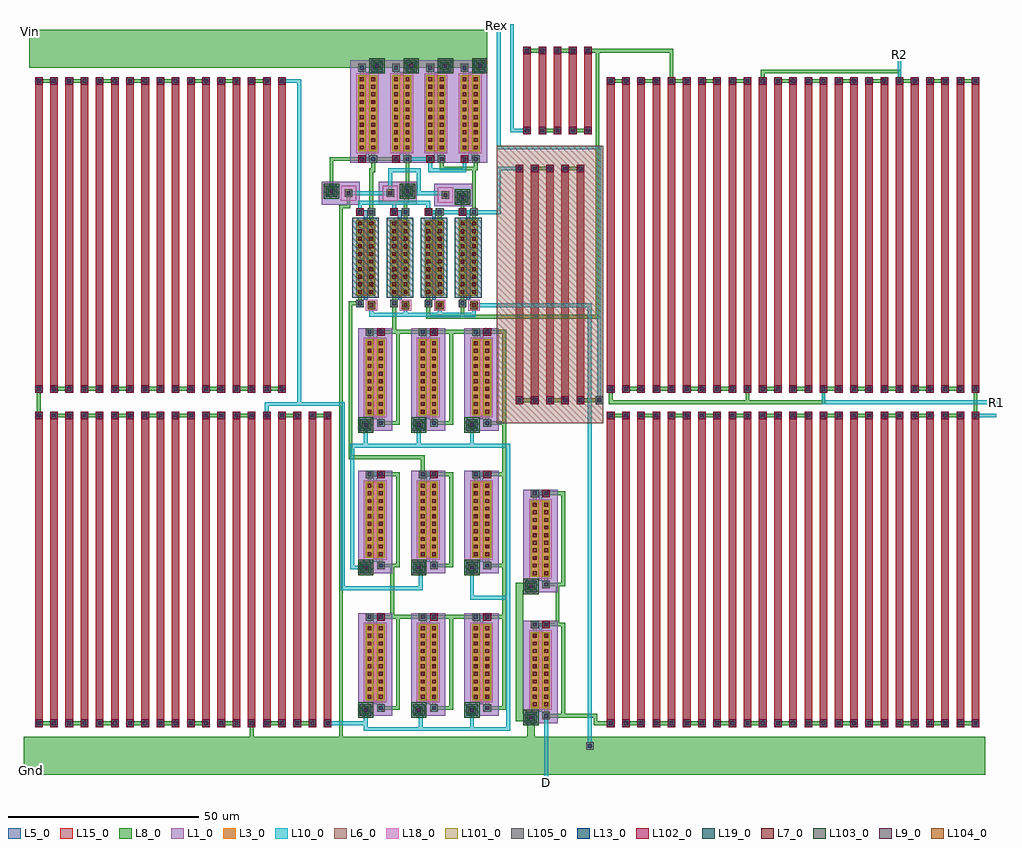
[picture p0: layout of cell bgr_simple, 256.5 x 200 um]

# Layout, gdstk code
from math import pi, radians
import gdstk
lib = gdstk.Library(unit=1e-6, precision=1e-09)
def R(c, l, rs):  # rectangles x0, y0, x1, y1
    for r in rs: c.add(gdstk.rectangle(r[:2], r[2:], *l))
def A(c, l, x, y, w, h, nx, ny, dx, dy):  # array of equal rectangles
    R(c, l, [(x+i*dx, y+j*dy, x+i*dx+w, y+j*dy+h) for i in range(nx) for j in range(ny)])
L1_0 = (1, 0)
L3_0 = (3, 0)
L5_0 = (5, 0)
L6_0 = (6, 0)
L7_0 = (7, 0)
L8_0 = (8, 0)
L9_0 = (9, 0)
L10_0 = (10, 0)
L13_0 = (13, 0)
L15_0 = (15, 0)
L18_0 = (18, 0)
L19_0 = (19, 0)
L101_0 = (101, 0)
L102_0 = (102, 0)
L103_0 = (103, 0)
L104_0 = (104, 0)
L105_0 = (105, 0)

dcont = lib.new_cell('dcont')
R(dcont, L3_0, [(-1,-1,1,1)])
R(dcont, L7_0, [(-0.5,-0.5,0.5,0.5)])
R(dcont, L8_0, [(-1,-1,1,1)])
R(dcont, L13_0, [(-0.5,-0.5,0.5,0.5)])
R(dcont, L101_0, [(-1,-1,1,1)])
dcont.add(gdstk.Label('dcont', (0,0), layer=13, texttype=0))

pcont = lib.new_cell('pcont')
R(pcont, L5_0, [(-1,-1,1,1)])
R(pcont, L7_0, [(-0.5,-0.5,0.5,0.5)])
R(pcont, L8_0, [(-1,-1,1,1)])
R(pcont, L13_0, [(-0.5,-0.5,0.5,0.5)])
R(pcont, L102_0, [(-1,-1,1,1)])
pcont.add(gdstk.Label('pcont', (0,0), layer=13, texttype=0))

via = lib.new_cell('Via')
R(via, L8_0, [(-1,-1,1,1)])
R(via, L9_0, [(-0.5,-0.5,0.5,0.5)])
R(via, L10_0, [(-1,-1,1,1)])
R(via, L13_0, [(-0.5,-0.5,0.5,0.5)])
R(via, L105_0, [(-1,-1,1,1)])
via.add(gdstk.Label('via', (0,0), layer=13, texttype=0))

nsubcont = lib.new_cell('nsubcont')
R(nsubcont, L1_0, [(-2,-2,2,2)])
R(nsubcont, L19_0, [(-1.5,-1.5,1.5,1.5)])
R(nsubcont, L103_0, [(-2,-2,2,2)])
nsubcont.add(gdstk.Reference(dcont, (0,0)))
nsubcont.add(gdstk.Label('NScont', (0,0), layer=13, texttype=0))

pch = lib.new_cell('Pch')
R(pch, L1_0, [(-2,0,7,27)])
R(pch, L3_0, [(0,3,5,23)])
R(pch, L18_0, [(-0.5,2.5,5.5,23.5)])
pch.add(gdstk.FlexPath([(1,3),(1,23)], 2, ends="flush", simple_path=True, layer=8, datatype=0))  # L8_0
pch.add(gdstk.FlexPath([(4,3),(4,23)], 2, ends="flush", simple_path=True, layer=8, datatype=0))  # L8_0
pch.add(gdstk.FlexPath([(1,23),(1,25)], 1, ends="flush", simple_path=True, layer=8, datatype=0))  # L8_0
pch.add(gdstk.FlexPath([(4,0),(4,3)], 1, ends="flush", simple_path=True, layer=8, datatype=0))  # L8_0
pch.add(gdstk.FlexPath([(2.5,3),(2.5,23)], 1, ends=(1, 1), simple_path=True, layer=5, datatype=0))  # L5_0
pch.add(gdstk.FlexPath([(1,1),(2.5,1),(2.5,2)], 1, ends="flush", simple_path=True, layer=5, datatype=0))  # L5_0
pch.add(gdstk.Reference(dcont, (1,4)))
pch.add(gdstk.Reference(dcont, (1,6)))
pch.add(gdstk.Reference(dcont, (1,8)))
pch.add(gdstk.Reference(dcont, (1,10)))
pch.add(gdstk.Reference(dcont, (1,12)))
pch.add(gdstk.Reference(dcont, (1,14)))
pch.add(gdstk.Reference(dcont, (1,16)))
pch.add(gdstk.Reference(dcont, (1,18)))
pch.add(gdstk.Reference(dcont, (1,20)))
pch.add(gdstk.Reference(dcont, (1,22)))
pch.add(gdstk.Reference(dcont, (4,4)))
pch.add(gdstk.Reference(dcont, (4,6)))
pch.add(gdstk.Reference(dcont, (4,8)))
pch.add(gdstk.Reference(dcont, (4,10)))
pch.add(gdstk.Reference(dcont, (4,12)))
pch.add(gdstk.Reference(dcont, (4,14)))
pch.add(gdstk.Reference(dcont, (4,16)))
pch.add(gdstk.Reference(dcont, (4,18)))
pch.add(gdstk.Reference(dcont, (4,20)))
pch.add(gdstk.Reference(dcont, (4,22)))
pch.add(gdstk.Reference(pcont, (1,1)))
pch.add(gdstk.Reference(via, (1,1)))
pch.add(gdstk.Reference(via, (1,25)))
pch.add(gdstk.Reference(via, (4,1)))
pch.add(gdstk.Reference(nsubcont, (5,25.5)))
pch.add(gdstk.Reference(via, (5,25.5)))

pch1x20 = lib.new_cell('pch1x20')
pch1x20.add(gdstk.Reference(pch, (1,2.5)))

psubcont = lib.new_cell('psubcont')
R(psubcont, L18_0, [(-1.5,-1.5,1.5,1.5)])
R(psubcont, L104_0, [(-1,-1,1,1)])
psubcont.add(gdstk.Reference(dcont, (0,0)))
psubcont.add(gdstk.Label('PScon', (0,0), layer=13, texttype=0))

nch = lib.new_cell('Nch')
R(nch, L3_0, [(0,3,5,23)])
R(nch, L19_0, [(-1,2.5,6,23.5)])
nch.add(gdstk.FlexPath([(1,3),(1,23)], 2, ends="flush", simple_path=True, layer=8, datatype=0))  # L8_0
nch.add(gdstk.FlexPath([(4,3),(4,23)], 2, ends="flush", simple_path=True, layer=8, datatype=0))  # L8_0
nch.add(gdstk.FlexPath([(1,1),(1,4)], 1, ends="flush", simple_path=True, layer=8, datatype=0))  # L8_0
nch.add(gdstk.FlexPath([(4,23),(4,26)], 1, ends="flush", simple_path=True, layer=8, datatype=0))  # L8_0
nch.add(gdstk.FlexPath([(2.5,3),(2.5,23)], 1, ends=(1, 1), simple_path=True, layer=5, datatype=0))  # L5_0
nch.add(gdstk.FlexPath([(1,25),(2.5,25),(2.5,24)], 1, ends="flush", simple_path=True, layer=5, datatype=0))  # L5_0
nch.add(gdstk.Reference(dcont, (1,4)))
nch.add(gdstk.Reference(dcont, (1,6)))
nch.add(gdstk.Reference(dcont, (1,8)))
nch.add(gdstk.Reference(dcont, (1,10)))
nch.add(gdstk.Reference(dcont, (1,12)))
nch.add(gdstk.Reference(dcont, (1,14)))
nch.add(gdstk.Reference(dcont, (1,16)))
nch.add(gdstk.Reference(dcont, (1,18)))
nch.add(gdstk.Reference(dcont, (1,20)))
nch.add(gdstk.Reference(dcont, (1,22)))
nch.add(gdstk.Reference(dcont, (4,4)))
nch.add(gdstk.Reference(dcont, (4,6)))
nch.add(gdstk.Reference(dcont, (4,8)))
nch.add(gdstk.Reference(dcont, (4,10)))
nch.add(gdstk.Reference(dcont, (4,12)))
nch.add(gdstk.Reference(dcont, (4,14)))
nch.add(gdstk.Reference(dcont, (4,16)))
nch.add(gdstk.Reference(dcont, (4,18)))
nch.add(gdstk.Reference(dcont, (4,20)))
nch.add(gdstk.Reference(dcont, (4,22)))
nch.add(gdstk.Reference(pcont, (1,25)))
nch.add(gdstk.Reference(via, (1,25)))
nch.add(gdstk.Reference(via, (1,1)))
nch.add(gdstk.Reference(via, (4,25)))
nch.add(gdstk.Reference(psubcont, (4,0.5)))
nch.add(gdstk.Reference(via, (4,0.5)))

nch1x20 = lib.new_cell('nch1x20')
nch1x20.add(gdstk.Reference(nch, (0.5,-0.5)))

pchdiode = lib.new_cell('pchdiode')
pchdiode.add(gdstk.FlexPath([(3.5,28.5),(-0.5,28.5),(-0.5,4.5),(7,4.5)], 1, ends="extended", simple_path=True, layer=8, datatype=0))  # L8_0
pchdiode.add(gdstk.Reference(pch1x20, (2,1)))

diodeblock = lib.new_cell('diodeblock')
diodeblock.add(gdstk.FlexPath([(32.5,8.5),(-3,8.5),(-3,-66.5),(26.5,-66.5)], 1, ends="flush", simple_path=True, layer=8, datatype=0))  # L8_0
diodeblock.add(gdstk.FlexPath([(26.5,8.5),(26.5,-5.5)], 1, ends="flush", simple_path=True, layer=8, datatype=0))  # L8_0
diodeblock.add(gdstk.FlexPath([(5.5,-42.5),(5.5,-36.5),(19.5,-36.5),(19.5,-42.5)], 1, ends="flush", simple_path=True, layer=10, datatype=0))  # L10_0
diodeblock.add(gdstk.FlexPath([(18.5,-36.5),(33.5,-36.5),(33.5,-42.5)], 1, ends="flush", simple_path=True, layer=10, datatype=0))  # L10_0
diodeblock.add(gdstk.FlexPath([(33,-36.5),(37,-36.5),(37,-4.5),(33.5,-4.5)], 1, ends="flush", simple_path=True, layer=10, datatype=0))  # L10_0
diodeblock.add(gdstk.FlexPath([(5.5,-5),(5.5,3.5),(-4.5,3.5)], 1, ends="flush", simple_path=True, layer=10, datatype=0))  # L10_0
diodeblock.add(gdstk.FlexPath([(18,38),(33.5,38),(33.5,32.5)], 1, ends="flush", simple_path=True, layer=10, datatype=0))  # L10_0
diodeblock.add(gdstk.FlexPath([(5.5,32.5),(5.5,38),(19,38),(19,32.5)], 1, ends="flush", simple_path=True, layer=10, datatype=0))  # L10_0
diodeblock.add(gdstk.FlexPath([(-4,4),(-4,-36.5),(5,-36.5)], 1, ends="flush", simple_path=True, layer=10, datatype=0))  # L10_0
diodeblock.add(gdstk.FlexPath([(-4,3.5),(-4,38),(5,38)], 1, ends="flush", simple_path=True, layer=10, datatype=0))  # L10_0
diodeblock.add(gdstk.Reference(pchdiode, (-2.5,4)))
diodeblock.add(gdstk.Reference(pchdiode, (11.5,4)))
diodeblock.add(gdstk.Reference(pchdiode, (25.5,4)))
diodeblock.add(gdstk.Reference(pchdiode, (-2.5,-33.5)))
diodeblock.add(gdstk.Reference(pchdiode, (11.5,-33.5)))
diodeblock.add(gdstk.Reference(pchdiode, (25.5,-33.5)))
diodeblock.add(gdstk.Reference(pchdiode, (-2.5,-71)))
diodeblock.add(gdstk.Reference(pchdiode, (11.5,-71)))
diodeblock.add(gdstk.Reference(pchdiode, (25.5,-71)))

r_poly_5 = lib.new_cell('R_poly$5')
A(r_poly_5, L8_0, 0, 0, 2, 2, 5, 2, 4, 81)
A(r_poly_5, L10_0, 0, 0, 2, 2, 5, 2, 4, 81)
r_poly_5.add(gdstk.FlexPath([(5,82),(1,82)], 1, ends="extended", simple_path=True, layer=8, datatype=0))  # L8_0
r_poly_5.add(gdstk.FlexPath([(9,1),(5,1)], 1, ends="extended", simple_path=True, layer=8, datatype=0))  # L8_0
r_poly_5.add(gdstk.FlexPath([(13,82),(9,82)], 1, ends="extended", simple_path=True, layer=8, datatype=0))  # L8_0
r_poly_5.add(gdstk.FlexPath([(17,1),(13,1)], 1, ends="extended", simple_path=True, layer=8, datatype=0))  # L8_0
r_poly_5.add(gdstk.FlexPath([(1,2),(1,81)], 2, ends=(2, 2), simple_path=True, layer=5, datatype=0))  # L5_0
r_poly_5.add(gdstk.FlexPath([(5,2),(5,81)], 2, ends=(2, 2), simple_path=True, layer=5, datatype=0))  # L5_0
r_poly_5.add(gdstk.FlexPath([(9,2),(9,81)], 2, ends=(2, 2), simple_path=True, layer=5, datatype=0))  # L5_0
r_poly_5.add(gdstk.FlexPath([(13,2),(13,81)], 2, ends=(2, 2), simple_path=True, layer=5, datatype=0))  # L5_0
r_poly_5.add(gdstk.FlexPath([(17,2),(17,81)], 2, ends=(2, 2), simple_path=True, layer=5, datatype=0))  # L5_0
r_poly_5.add(gdstk.FlexPath([(1,2),(1,81)], 2, ends=(0.5, 0.5), simple_path=True, layer=15, datatype=0))  # L15_0
r_poly_5.add(gdstk.FlexPath([(5,2),(5,81)], 2, ends=(0.5, 0.5), simple_path=True, layer=15, datatype=0))  # L15_0
r_poly_5.add(gdstk.FlexPath([(9,2),(9,81)], 2, ends=(0.5, 0.5), simple_path=True, layer=15, datatype=0))  # L15_0
r_poly_5.add(gdstk.FlexPath([(13,2),(13,81)], 2, ends=(0.5, 0.5), simple_path=True, layer=15, datatype=0))  # L15_0
r_poly_5.add(gdstk.FlexPath([(17,2),(17,81)], 2, ends=(0.5, 0.5), simple_path=True, layer=15, datatype=0))  # L15_0
r_poly_5.add(gdstk.Reference(via, (1,1)))
r_poly_5.add(gdstk.Reference(pcont, (1,1)))
r_poly_5.add(gdstk.Reference(via, (1,82)))
r_poly_5.add(gdstk.Reference(pcont, (1,82)))
r_poly_5.add(gdstk.Reference(via, (5,1)))
r_poly_5.add(gdstk.Reference(pcont, (5,1)))
r_poly_5.add(gdstk.Reference(via, (5,82)))
r_poly_5.add(gdstk.Reference(pcont, (5,82)))
r_poly_5.add(gdstk.Reference(via, (9,1)))
r_poly_5.add(gdstk.Reference(pcont, (9,1)))
r_poly_5.add(gdstk.Reference(via, (9,82)))
r_poly_5.add(gdstk.Reference(pcont, (9,82)))
r_poly_5.add(gdstk.Reference(via, (13,1)))
r_poly_5.add(gdstk.Reference(pcont, (13,1)))
r_poly_5.add(gdstk.Reference(via, (13,82)))
r_poly_5.add(gdstk.Reference(pcont, (13,82)))
r_poly_5.add(gdstk.Reference(via, (17,1)))
r_poly_5.add(gdstk.Reference(pcont, (17,1)))
r_poly_5.add(gdstk.Reference(via, (17,82)))
r_poly_5.add(gdstk.Reference(pcont, (17,82)))

r_poly = lib.new_cell('R_poly')
R(r_poly, L8_0, [(0,0,2,2), (4,0,6,2), (0,81,2,83), (4,81,6,83)])
R(r_poly, L10_0, [(0,0,2,2), (4,0,6,2), (0,81,2,83), (4,81,6,83)])
r_poly.add(gdstk.FlexPath([(5,82),(1,82)], 1, ends="extended", simple_path=True, layer=8, datatype=0))  # L8_0
r_poly.add(gdstk.FlexPath([(1,2),(1,81)], 2, ends=(2, 2), simple_path=True, layer=5, datatype=0))  # L5_0
r_poly.add(gdstk.FlexPath([(5,2),(5,81)], 2, ends=(2, 2), simple_path=True, layer=5, datatype=0))  # L5_0
r_poly.add(gdstk.FlexPath([(1,2),(1,81)], 2, ends=(0.5, 0.5), simple_path=True, layer=15, datatype=0))  # L15_0
r_poly.add(gdstk.FlexPath([(5,2),(5,81)], 2, ends=(0.5, 0.5), simple_path=True, layer=15, datatype=0))  # L15_0
r_poly.add(gdstk.Reference(via, (1,1)))
r_poly.add(gdstk.Reference(pcont, (1,1)))
r_poly.add(gdstk.Reference(via, (1,82)))
r_poly.add(gdstk.Reference(pcont, (1,82)))
r_poly.add(gdstk.Reference(via, (5,1)))
r_poly.add(gdstk.Reference(pcont, (5,1)))
r_poly.add(gdstk.Reference(via, (5,82)))
r_poly.add(gdstk.Reference(pcont, (5,82)))

r_poly_2 = lib.new_cell('R_poly$2')
A(r_poly_2, L8_0, 0, 0, 2, 2, 5, 2, 4, 21)
A(r_poly_2, L10_0, 0, 0, 2, 2, 5, 2, 4, 21)
r_poly_2.add(gdstk.FlexPath([(5,22),(1,22)], 1, ends="extended", simple_path=True, layer=8, datatype=0))  # L8_0
r_poly_2.add(gdstk.FlexPath([(9,1),(5,1)], 1, ends="extended", simple_path=True, layer=8, datatype=0))  # L8_0
r_poly_2.add(gdstk.FlexPath([(13,22),(9,22)], 1, ends="extended", simple_path=True, layer=8, datatype=0))  # L8_0
r_poly_2.add(gdstk.FlexPath([(17,1),(13,1)], 1, ends="extended", simple_path=True, layer=8, datatype=0))  # L8_0
r_poly_2.add(gdstk.FlexPath([(1,2),(1,21)], 2, ends=(2, 2), simple_path=True, layer=5, datatype=0))  # L5_0
r_poly_2.add(gdstk.FlexPath([(5,2),(5,21)], 2, ends=(2, 2), simple_path=True, layer=5, datatype=0))  # L5_0
r_poly_2.add(gdstk.FlexPath([(9,2),(9,21)], 2, ends=(2, 2), simple_path=True, layer=5, datatype=0))  # L5_0
r_poly_2.add(gdstk.FlexPath([(13,2),(13,21)], 2, ends=(2, 2), simple_path=True, layer=5, datatype=0))  # L5_0
r_poly_2.add(gdstk.FlexPath([(17,2),(17,21)], 2, ends=(2, 2), simple_path=True, layer=5, datatype=0))  # L5_0
r_poly_2.add(gdstk.FlexPath([(1,2),(1,21)], 2, ends=(0.5, 0.5), simple_path=True, layer=15, datatype=0))  # L15_0
r_poly_2.add(gdstk.FlexPath([(5,2),(5,21)], 2, ends=(0.5, 0.5), simple_path=True, layer=15, datatype=0))  # L15_0
r_poly_2.add(gdstk.FlexPath([(9,2),(9,21)], 2, ends=(0.5, 0.5), simple_path=True, layer=15, datatype=0))  # L15_0
r_poly_2.add(gdstk.FlexPath([(13,2),(13,21)], 2, ends=(0.5, 0.5), simple_path=True, layer=15, datatype=0))  # L15_0
r_poly_2.add(gdstk.FlexPath([(17,2),(17,21)], 2, ends=(0.5, 0.5), simple_path=True, layer=15, datatype=0))  # L15_0
r_poly_2.add(gdstk.Reference(via, (1,1)))
r_poly_2.add(gdstk.Reference(pcont, (1,1)))
r_poly_2.add(gdstk.Reference(via, (1,22)))
r_poly_2.add(gdstk.Reference(pcont, (1,22)))
r_poly_2.add(gdstk.Reference(via, (5,1)))
r_poly_2.add(gdstk.Reference(pcont, (5,1)))
r_poly_2.add(gdstk.Reference(via, (5,22)))
r_poly_2.add(gdstk.Reference(pcont, (5,22)))
r_poly_2.add(gdstk.Reference(via, (9,1)))
r_poly_2.add(gdstk.Reference(pcont, (9,1)))
r_poly_2.add(gdstk.Reference(via, (9,22)))
r_poly_2.add(gdstk.Reference(pcont, (9,22)))
r_poly_2.add(gdstk.Reference(via, (13,1)))
r_poly_2.add(gdstk.Reference(pcont, (13,1)))
r_poly_2.add(gdstk.Reference(via, (13,22)))
r_poly_2.add(gdstk.Reference(pcont, (13,22)))
r_poly_2.add(gdstk.Reference(via, (17,1)))
r_poly_2.add(gdstk.Reference(pcont, (17,1)))
r_poly_2.add(gdstk.Reference(via, (17,22)))
r_poly_2.add(gdstk.Reference(pcont, (17,22)))

dcont_1 = lib.new_cell('dcont$1')
R(dcont_1, L3_0, [(-1,-1,1,1)])
R(dcont_1, L7_0, [(-0.5,-0.5,0.5,0.5)])
R(dcont_1, L8_0, [(-1,-1,1,1)])
R(dcont_1, L13_0, [(-0.5,-0.5,0.5,0.5)])
R(dcont_1, L101_0, [(-1,-1,1,1)])
dcont_1.add(gdstk.Label('dcont', (0,0), layer=13, texttype=0))

nsubcont_2 = lib.new_cell('nsubcont$2')
R(nsubcont_2, L1_0, [(-2,-2,2,2)])
R(nsubcont_2, L19_0, [(-1.5,-1.5,1.5,1.5)])
R(nsubcont_2, L103_0, [(-2,-2,2,2)])
nsubcont_2.add(gdstk.Reference(dcont_1, (0,0)))
nsubcont_2.add(gdstk.Label('NScont', (0,0), layer=13, texttype=0))

via_2 = lib.new_cell('Via$2')
R(via_2, L8_0, [(-1,-1,1,1)])
R(via_2, L9_0, [(-0.5,-0.5,0.5,0.5)])
R(via_2, L10_0, [(-1,-1,1,1)])
R(via_2, L13_0, [(-0.5,-0.5,0.5,0.5)])
R(via_2, L105_0, [(-1,-1,1,1)])
via_2.add(gdstk.Label('via', (0,0), layer=13, texttype=0))

dcont_2 = lib.new_cell('dcont$2')
R(dcont_2, L3_0, [(-1,-1,1,1)])
R(dcont_2, L7_0, [(-0.5,-0.5,0.5,0.5)])
R(dcont_2, L8_0, [(-1,-1,1,1)])
R(dcont_2, L13_0, [(-0.5,-0.5,0.5,0.5)])
R(dcont_2, L101_0, [(-1,-1,1,1)])
dcont_2.add(gdstk.Label('dcont', (0,0), layer=13, texttype=0))

protection = lib.new_cell('protection')
R(protection, L1_0, [(2,21,8,31)])
R(protection, L18_0, [(3,22,7,26)])
r = gdstk.Reference(nsubcont_2, (5.5,28.5)); r.repetition = gdstk.Repetition(1, 1, v1=(0,0), v2=(0,0)); protection.add(r)
r = gdstk.Reference(via_2, (5.5,28.5)); r.repetition = gdstk.Repetition(1, 1, v1=(0,0), v2=(0,0)); protection.add(r)
r = gdstk.Reference(via_2, (5,24)); r.repetition = gdstk.Repetition(1, 1, v1=(0,0), v2=(0,0)); protection.add(r)
r = gdstk.Reference(dcont_2, (5,24)); r.repetition = gdstk.Repetition(1, 1, v1=(0,0), v2=(0,0)); protection.add(r)
protection.add(gdstk.Label('VDD', (2.8,27.5), layer=13, texttype=0))

hr_poly_1 = lib.new_cell('HR_poly$1')
R(hr_poly_1, L6_0, [(-5,-5,23,68)])
A(hr_poly_1, L8_0, 0, 0, 2, 2, 5, 2, 4, 61)
A(hr_poly_1, L10_0, 0, 0, 2, 2, 5, 2, 4, 61)
hr_poly_1.add(gdstk.FlexPath([(5,62),(1,62)], 1, ends="extended", simple_path=True, layer=8, datatype=0))  # L8_0
hr_poly_1.add(gdstk.FlexPath([(9,1),(5,1)], 1, ends="extended", simple_path=True, layer=8, datatype=0))  # L8_0
hr_poly_1.add(gdstk.FlexPath([(13,62),(9,62)], 1, ends="extended", simple_path=True, layer=8, datatype=0))  # L8_0
hr_poly_1.add(gdstk.FlexPath([(17,1),(13,1)], 1, ends="extended", simple_path=True, layer=8, datatype=0))  # L8_0
hr_poly_1.add(gdstk.FlexPath([(1,2),(1,61)], 2, ends=(2, 2), simple_path=True, layer=5, datatype=0))  # L5_0
hr_poly_1.add(gdstk.FlexPath([(5,2),(5,61)], 2, ends=(2, 2), simple_path=True, layer=5, datatype=0))  # L5_0
hr_poly_1.add(gdstk.FlexPath([(9,2),(9,61)], 2, ends=(2, 2), simple_path=True, layer=5, datatype=0))  # L5_0
hr_poly_1.add(gdstk.FlexPath([(13,2),(13,61)], 2, ends=(2, 2), simple_path=True, layer=5, datatype=0))  # L5_0
hr_poly_1.add(gdstk.FlexPath([(17,2),(17,61)], 2, ends=(2, 2), simple_path=True, layer=5, datatype=0))  # L5_0
hr_poly_1.add(gdstk.FlexPath([(1,2),(1,61)], 2, ends=(0.5, 0.5), simple_path=True, layer=15, datatype=0))  # L15_0
hr_poly_1.add(gdstk.FlexPath([(5,2),(5,61)], 2, ends=(0.5, 0.5), simple_path=True, layer=15, datatype=0))  # L15_0
hr_poly_1.add(gdstk.FlexPath([(9,2),(9,61)], 2, ends=(0.5, 0.5), simple_path=True, layer=15, datatype=0))  # L15_0
hr_poly_1.add(gdstk.FlexPath([(13,2),(13,61)], 2, ends=(0.5, 0.5), simple_path=True, layer=15, datatype=0))  # L15_0
hr_poly_1.add(gdstk.FlexPath([(17,2),(17,61)], 2, ends=(0.5, 0.5), simple_path=True, layer=15, datatype=0))  # L15_0
hr_poly_1.add(gdstk.Reference(via, (1,1)))
hr_poly_1.add(gdstk.Reference(pcont, (1,1)))
hr_poly_1.add(gdstk.Reference(via, (1,62)))
hr_poly_1.add(gdstk.Reference(pcont, (1,62)))
hr_poly_1.add(gdstk.Reference(via, (5,1)))
hr_poly_1.add(gdstk.Reference(pcont, (5,1)))
hr_poly_1.add(gdstk.Reference(via, (5,62)))
hr_poly_1.add(gdstk.Reference(pcont, (5,62)))
hr_poly_1.add(gdstk.Reference(via, (9,1)))
hr_poly_1.add(gdstk.Reference(pcont, (9,1)))
hr_poly_1.add(gdstk.Reference(via, (9,62)))
hr_poly_1.add(gdstk.Reference(pcont, (9,62)))
hr_poly_1.add(gdstk.Reference(via, (13,1)))
hr_poly_1.add(gdstk.Reference(pcont, (13,1)))
hr_poly_1.add(gdstk.Reference(via, (13,62)))
hr_poly_1.add(gdstk.Reference(pcont, (13,62)))
hr_poly_1.add(gdstk.Reference(via, (17,1)))
hr_poly_1.add(gdstk.Reference(pcont, (17,1)))
hr_poly_1.add(gdstk.Reference(via, (17,62)))
hr_poly_1.add(gdstk.Reference(pcont, (17,62)))

via_3 = lib.new_cell('Via$3')
R(via_3, L8_0, [(-1,-1,1,1)])
R(via_3, L9_0, [(-0.5,-0.5,0.5,0.5)])
R(via_3, L10_0, [(-1,-1,1,1)])
R(via_3, L13_0, [(-0.5,-0.5,0.5,0.5)])
R(via_3, L105_0, [(-1,-1,1,1)])
via_3.add(gdstk.Label('via', (0,0), layer=13, texttype=0))

bgr_simple = lib.new_cell('bgr_simple')
bgr_simple.add(gdstk.FlexPath([(56,-186),(66.5,-186),(66.5,-188),(70.5,-188)], 1, ends="flush", simple_path=True, layer=8, datatype=0))  # L8_0
bgr_simple.add(gdstk.FlexPath([(67.5,-103),(62.5,-103),(62.5,-103)], 1, ends="flush", simple_path=True, layer=8, datatype=0))  # L8_0
bgr_simple.add(gdstk.FlexPath([(4.5,-77.5),(2,-77.5),(2,-118),(21,-118),(21,-122.5)], 1, ends="flush", simple_path=True, layer=8, datatype=0))  # L8_0
bgr_simple.add(gdstk.FlexPath([(1.5,-48.5),(1.5,-52),(-0.5,-52),(-0.5,-194.5),(-1,-194.5)], 1, ends="flush", simple_path=True, layer=8, datatype=0))  # L8_0
bgr_simple.add(gdstk.FlexPath([(-3,-48),(-3,-39.5),(5,-39.5)], 1, ends="flush", simple_path=True, layer=8, datatype=0))  # L8_0
bgr_simple.add(gdstk.FlexPath([(50,-152),(46.5,-152),(46.5,-186.5),(49.5,-186.5),(49.5,-192.5)], 2, ends="flush", simple_path=True, layer=8, datatype=0))  # L8_0
bgr_simple.add(gdstk.FlexPath([(22.5,-77.5),(22.5,-81),(31.5,-81),(31.5,-78)], 1, ends="flush", simple_path=True, layer=8, datatype=0))  # L8_0
bgr_simple.add(gdstk.FlexPath([(-82.5,-10.5),(38,-10.5)], 10, ends="flush", simple_path=True, layer=8, datatype=0))  # L8_0
bgr_simple.add(gdstk.FlexPath([(-64,-19),(-60,-19)], 1, ends="flush", simple_path=True, layer=8, datatype=0))  # L8_0
bgr_simple.add(gdstk.FlexPath([(-20,-19),(-24,-19)], 1, ends="flush", simple_path=True, layer=8, datatype=0))  # L8_0
bgr_simple.add(gdstk.FlexPath([(-40,-100),(-44,-100)], 1, ends="flush", simple_path=True, layer=8, datatype=0))  # L8_0
bgr_simple.add(gdstk.FlexPath([(-80,-100),(-80,-107)], 1, ends="flush", simple_path=True, layer=8, datatype=0))  # L8_0
bgr_simple.add(gdstk.FlexPath([(-64,-188),(-59.5,-188)], 1, ends="flush", simple_path=True, layer=8, datatype=0))  # L8_0
bgr_simple.add(gdstk.FlexPath([(-44,-107),(-39.5,-107)], 1, ends="flush", simple_path=True, layer=8, datatype=0))  # L8_0
bgr_simple.add(gdstk.FlexPath([(-24,-188),(-24,-193)], 1, ends="flush", simple_path=True, layer=8, datatype=0))  # L8_0
bgr_simple.add(gdstk.FlexPath([(-84,-196.5),(169,-196.5)], 10, ends="flush", simple_path=True, layer=8, datatype=0))  # L8_0
bgr_simple.add(gdstk.FlexPath([(166.5,-100),(166.5,-107)], 1, ends="flush", simple_path=True, layer=8, datatype=0))  # L8_0
bgr_simple.add(gdstk.FlexPath([(13.5,-77.5),(13.5,-85)], 1, ends="flush", simple_path=True, layer=8, datatype=0))  # L8_0
bgr_simple.add(gdstk.FlexPath([(56.5,-151.5),(56.5,-162)], 1, ends="flush", simple_path=True, layer=8, datatype=0))  # L8_0
bgr_simple.add(gdstk.FlexPath([(86.5,-19),(86.5,-11),(64.5,-11)], 1, ends="flush", simple_path=True, layer=8, datatype=0))  # L8_0
bgr_simple.add(gdstk.FlexPath([(110.5,-19),(110.5,-16.5),(146.5,-16.5),(146.5,-19)], 1, ends="flush", simple_path=True, layer=8, datatype=0))  # L8_0
bgr_simple.add(gdstk.FlexPath([(106,-103.5),(126.5,-103.5),(126.5,-99.5)], 1, ends="flush", simple_path=True, layer=8, datatype=0))  # L8_0
bgr_simple.add(gdstk.FlexPath([(70.5,-100),(70.5,-103.5),(106.5,-103.5),(106.5,-100)], 1, ends="flush", simple_path=True, layer=8, datatype=0))  # L8_0
bgr_simple.add(gdstk.FlexPath([(31.5,-81),(67,-81),(67,-11)], 1, ends="flush", simple_path=True, layer=8, datatype=0))  # L8_0
bgr_simple.add(gdstk.FlexPath([(146.5,-188),(150.5,-188)], 1, ends="flush", simple_path=True, layer=8, datatype=0))  # L8_0
bgr_simple.add(gdstk.FlexPath([(90.5,-19),(86.5,-19)], 1, ends="flush", simple_path=True, layer=8, datatype=0))  # L8_0
bgr_simple.add(gdstk.FlexPath([(7.5,-53.5),(7.5,-42.5),(8,-42.5),(8,-39.5)], 1, ends="flush", simple_path=True, layer=8, datatype=0))  # L8_0
bgr_simple.add(gdstk.FlexPath([(26,-39.5),(26,-42),(35,-42),(35,-39.5)], 1, ends="flush", simple_path=True, layer=8, datatype=0))  # L8_0
bgr_simple.add(gdstk.FlexPath([(34.5,-53.5),(34.5,-42)], 1, ends="flush", simple_path=True, layer=8, datatype=0))  # L8_0
bgr_simple.add(gdstk.FlexPath([(31.5,-48.5),(31.5,-53.5),(31.5,-53.5)], 1, ends="flush", simple_path=True, layer=8, datatype=0))  # L8_0
bgr_simple.add(gdstk.FlexPath([(16.5,-53.5),(16.5,-50.5),(17,-50.5),(17,-39.5)], 1, ends="flush", simple_path=True, layer=8, datatype=0))  # L8_0
bgr_simple.add(gdstk.FlexPath([(5,-39.5),(14,-39.5),(14,-39.5)], 1, ends="flush", simple_path=True, layer=8, datatype=0))  # L8_0
bgr_simple.add(gdstk.FlexPath([(151,-19),(146,-19)], 1, ends="flush", simple_path=True, layer=8, datatype=0))  # L8_0
bgr_simple.add(gdstk.FlexPath([(130.5,-100),(126.5,-100)], 1, ends="flush", simple_path=True, layer=8, datatype=0))  # L8_0
bgr_simple.add(gdstk.FlexPath([(126.5,-107),(130.5,-107)], 1, ends="flush", simple_path=True, layer=8, datatype=0))  # L8_0
bgr_simple.add(gdstk.FlexPath([(106.5,-188),(110.5,-188)], 1, ends="flush", simple_path=True, layer=8, datatype=0))  # L8_0
bgr_simple.add(gdstk.FlexPath([(86.5,-107),(91,-107)], 1, ends="flush", simple_path=True, layer=8, datatype=0))  # L8_0
bgr_simple.add(gdstk.FlexPath([(67.5,-103.5),(67.5,-36.5),(41,-36.5),(41,-4)], 1, ends="flush", simple_path=True, layer=10, datatype=0))  # L10_0
bgr_simple.add(gdstk.FlexPath([(35,-78),(65,-78),(65,-195)], 1, ends="flush", simple_path=True, layer=10, datatype=0))  # L10_0
bgr_simple.add(gdstk.FlexPath([(27,-48.5),(20,-48.5),(20,-42.5),(12.5,-42.5),(12.5,-48.5)], 1, ends="flush", simple_path=True, layer=10, datatype=0))  # L10_0
bgr_simple.add(gdstk.FlexPath([(1.5,-48.5),(12.5,-48.5)], 1, ends="flush", simple_path=True, layer=10, datatype=0))  # L10_0
bgr_simple.add(gdstk.FlexPath([(7.5,-78),(7.5,-80.5),(16.5,-80.5),(16.5,-78)], 1, ends="flush", simple_path=True, layer=10, datatype=0))  # L10_0
bgr_simple.add(gdstk.FlexPath([(31,-53.5),(41,-53.5),(41,-42),(47.5,-42)], 1, ends="flush", simple_path=True, layer=10, datatype=0))  # L10_0
bgr_simple.add(gdstk.FlexPath([(-20,-107),(-20,-104),(0,-104),(0,-152.5),(20.5,-152.5),(20.5,-147)], 1, ends="flush", simple_path=True, layer=10, datatype=0))  # L10_0
bgr_simple.add(gdstk.FlexPath([(-4,-188),(6.5,-188)], 1, ends="flush", simple_path=True, layer=10, datatype=0))  # L10_0
bgr_simple.add(gdstk.FlexPath([(-16,-19),(-11.5,-19),(-11.5,-104)], 1, ends="flush", simple_path=True, layer=10, datatype=0))  # L10_0
bgr_simple.add(gdstk.FlexPath([(16.5,-80.5),(25.5,-80.5),(25.5,-78)], 1, ends="flush", simple_path=True, layer=10, datatype=0))  # L10_0
bgr_simple.add(gdstk.FlexPath([(25.5,-80.5),(34.5,-80.5),(34.5,-78)], 1, ends="flush", simple_path=True, layer=10, datatype=0))  # L10_0
bgr_simple.add(gdstk.FlexPath([(4.5,-53.5),(4.5,-51),(13.5,-51),(13.5,-53.5)], 1, ends="flush", simple_path=True, layer=10, datatype=0))  # L10_0
bgr_simple.add(gdstk.FlexPath([(32,-39.5),(32,-42.5),(23,-42.5),(23,-39.5)], 1, ends="flush", simple_path=True, layer=10, datatype=0))  # L10_0
bgr_simple.add(gdstk.FlexPath([(166.5,-107),(172,-107)], 1, ends="flush", simple_path=True, layer=10, datatype=0))  # L10_0
bgr_simple.add(gdstk.FlexPath([(44.5,-4),(44.5,-32),(48.5,-32)], 1, ends="flush", simple_path=True, layer=10, datatype=0))  # L10_0
bgr_simple.add(gdstk.FlexPath([(13,-51),(22.5,-51),(22.5,-53.5)], 1, ends="flush", simple_path=True, layer=10, datatype=0))  # L10_0
bgr_simple.add(gdstk.FlexPath([(22,-53.5),(31.5,-53.5)], 1, ends="flush", simple_path=True, layer=10, datatype=0))  # L10_0
bgr_simple.add(gdstk.FlexPath([(34.5,-53.5),(34.5,-53.5)], 1, ends="flush", simple_path=True, layer=10, datatype=0))  # L10_0
bgr_simple.add(gdstk.FlexPath([(53.5,-186),(53.5,-204),(53.5,-204)], 1, ends="flush", simple_path=True, layer=10, datatype=0))  # L10_0
bgr_simple.add(gdstk.FlexPath([(126.5,-100),(126.5,-103.5),(172.5,-103.5),(172.5,-103.5)], 1, ends="flush", simple_path=True, layer=10, datatype=0))  # L10_0
bgr_simple.add(gdstk.FlexPath([(146.5,-19),(146.5,-11.5)], 1, ends="flush", simple_path=True, layer=10, datatype=0))  # L10_0
bgr_simple.add(gdstk.FlexPath([(17,-39.5),(23,-39.5)], 1, ends="flush", simple_path=True, layer=10, datatype=0))  # L10_0
bgr_simple.add(gdstk.Reference(pch1x20, (12,-43)))
bgr_simple.add(gdstk.Reference(pch1x20, (21,-43)))
bgr_simple.add(gdstk.Reference(pch1x20, (30,-43)))
bgr_simple.add(gdstk.Reference(pch1x20, (3,-43)))
bgr_simple.add(gdstk.Reference(nch1x20, (3,-78)))
bgr_simple.add(gdstk.Reference(nch1x20, (12,-78)))
bgr_simple.add(gdstk.Reference(nch1x20, (30,-78)))
bgr_simple.add(gdstk.Reference(diodeblock, (39.5,-151.5), rotation=pi))
bgr_simple.add(gdstk.Reference(r_poly_5, (167.5,-101), rotation=pi, x_reflection=True))
bgr_simple.add(gdstk.Reference(r_poly_5, (-61,-189)))
bgr_simple.add(gdstk.Reference(r_poly_5, (-23,-189), rotation=pi, x_reflection=True))
bgr_simple.add(gdstk.Reference(r_poly_5, (-3,-189), rotation=pi, x_reflection=True))
bgr_simple.add(gdstk.Reference(r_poly_5, (-23,-18), rotation=pi))
bgr_simple.add(gdstk.Reference(r_poly_5, (-61,-18), x_reflection=True))
bgr_simple.add(gdstk.Reference(r_poly_5, (-63,-18), rotation=pi))
bgr_simple.add(gdstk.Reference(pchdiode, (57.5,-157.5), rotation=pi))
bgr_simple.add(gdstk.Reference(pchdiode, (57.5,-123), rotation=pi))
bgr_simple.add(gdstk.Reference(r_poly_5, (-63,-189), rotation=pi, x_reflection=True))
bgr_simple.add(gdstk.Reference(nch1x20, (21,-78)))
bgr_simple.add(gdstk.Reference(r_poly, (-15,-18), rotation=pi))
bgr_simple.add(gdstk.Reference(r_poly_2, (65.5,-10), rotation=pi))
bgr_simple.add(gdstk.Reference(r_poly_5, (127.5,-101), rotation=pi, x_reflection=True))
bgr_simple.add(gdstk.Reference(r_poly_5, (129.5,-101)))
bgr_simple.add(gdstk.Reference(r_poly_5, (107.5,-101), rotation=pi, x_reflection=True))
bgr_simple.add(gdstk.Reference(r_poly_5, (69.5,-101)))
bgr_simple.add(gdstk.Reference(protection, (-11.5,-53.5), rotation=pi/2, x_reflection=True))
bgr_simple.add(gdstk.Reference(protection, (25.5,-53.5), rotation=pi/2))
bgr_simple.add(gdstk.Reference(protection, (3,-44), rotation=3*pi/2))
bgr_simple.add(gdstk.Reference(r_poly_5, (149.5,-189)))
bgr_simple.add(gdstk.Reference(r_poly_5, (147.5,-189), rotation=pi, x_reflection=True))
bgr_simple.add(gdstk.Reference(r_poly_5, (109.5,-189)))
bgr_simple.add(gdstk.Reference(r_poly_5, (107.5,-189), rotation=pi, x_reflection=True))
bgr_simple.add(gdstk.Reference(r_poly_5, (69.5,-189)))
r = gdstk.Reference(via_2, (65,-194)); r.repetition = gdstk.Repetition(1, 1, v1=(0,0), v2=(0,0)); bgr_simple.add(r)
bgr_simple.add(gdstk.Reference(hr_poly_1, (45.5,-41), x_reflection=True))
r = gdstk.Reference(via_3, (67.5,-103)); r.repetition = gdstk.Repetition(4, 1, v1=(0,0), v2=(0,0)); bgr_simple.add(r)
bgr_simple.add(gdstk.Label('Gnd', (-82,-200.5), layer=8, texttype=0))
bgr_simple.add(gdstk.Label('Vin', (-82.3,-6), layer=8, texttype=0))
bgr_simple.add(gdstk.Label('Rex', (40.5,-4.5), layer=10, texttype=0))
bgr_simple.add(gdstk.Label('D', (53.5,-203.5), layer=10, texttype=0))
bgr_simple.add(gdstk.Label('R1', (172,-103.5), layer=10, texttype=0))
bgr_simple.add(gdstk.Label('R2', (146.5,-12), layer=10, texttype=0))
bgr_simple.add(gdstk.Label('R3', (172,-107), layer=10, texttype=0))
bgr_simple.add(gdstk.Label('Vout', (44.6,-4.6), layer=10, texttype=0))

lib.write_gds('bgr_simple.gds')
